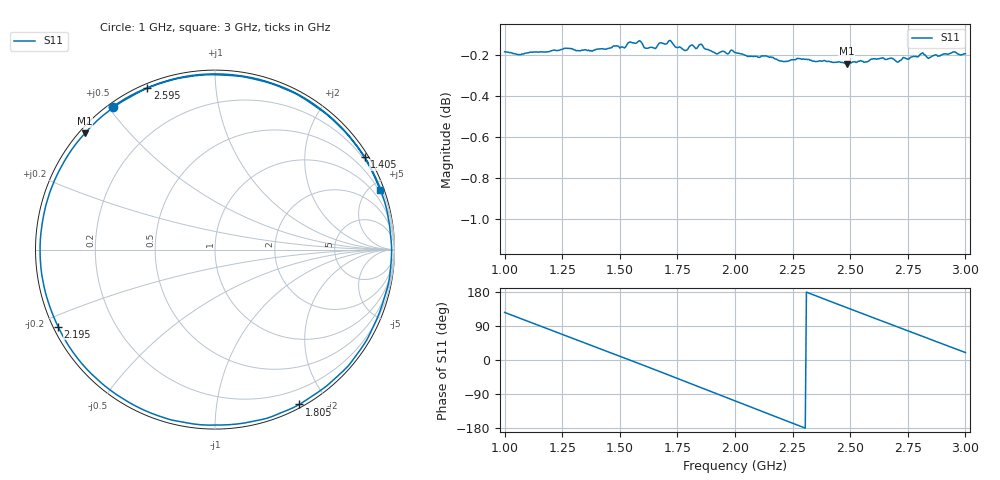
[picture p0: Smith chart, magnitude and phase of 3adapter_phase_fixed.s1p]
!  02.03.2026  10:56:14
! Ref Plane: 0.000 mm
# MHZ S MA R  50
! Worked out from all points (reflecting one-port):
!   401 points, 1 GHz to 3 GHz, reference 50 ohm
!   lowest |S11| = -0.2 dB at 2.485 GHz (marker M1), VSWR 71.39, Z = 0.802 + j19.1 ohm
!   phase of S11 starts at 126 deg and turns -466 deg over the sweep
!   S11 on the Smith chart (normalised r, x): 1 GHz: 0.01, +0.51; 1.405 GHz: 0.13, +3.51; 1.805 GHz: 0.03, -1.68; 2.195 GHz: 0.01, -0.23; 2.595 GHz: 0.02, +0.67; 3 GHz: 0.38, +5.74
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1000  0.9789 125.6
1070  0.9773 109.3
1130  0.9788 95.5
1190  0.9789 81.6
1250  0.9802 67.6
1325  0.9794 50.3
1405  0.9804 31.8
1500  0.9809 9.8
1560  0.9838 -4.1
1620  0.9808 -17.9
1680  0.9838 -32.1
1750  0.9811 -48.4
1805  0.9821 -61.4
1900  0.979 -83.9
2000  0.9785 -107.6
2090  0.9764 -129.1
2195  0.9739 -153.9
2250  0.9745 -166.9
2305  0.9747 -179.8
2365  0.9738 166.1
2485  0.9724 138.2
2500  0.9729 134.7
2595  0.9749 112.7
2675  0.9753 94.4
2750  0.9748 77.1
2860  0.9768 51.9
2935  0.978 34.6
3000  0.9778 19.7
